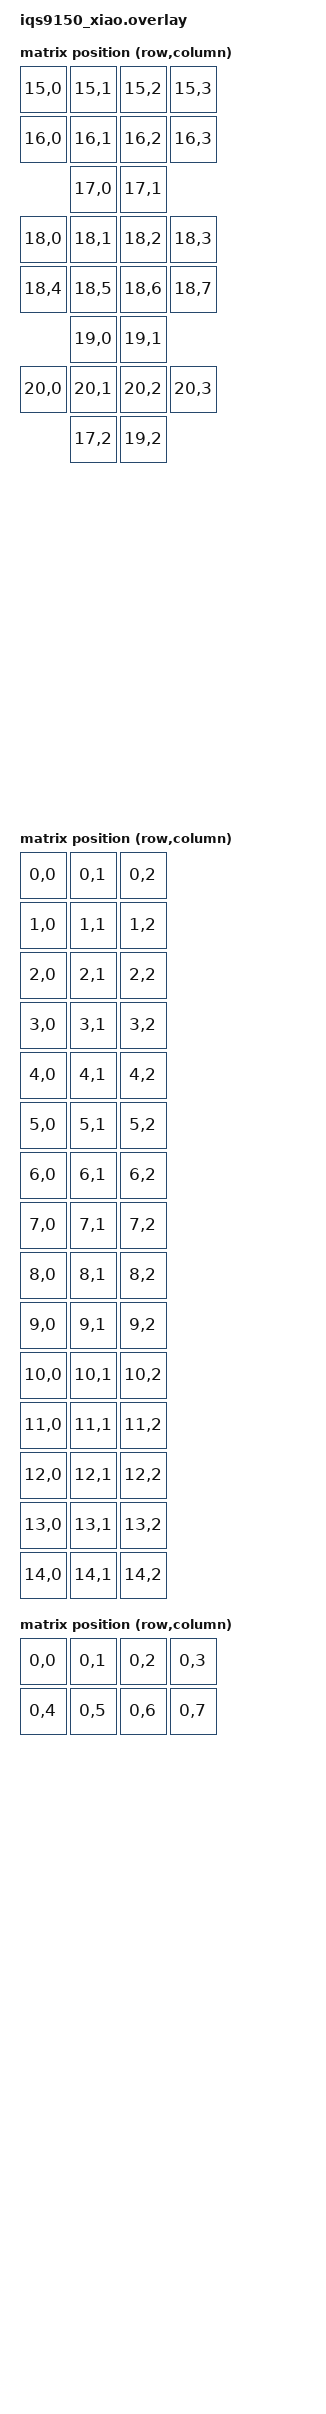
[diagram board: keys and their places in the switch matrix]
/* IQS9150EV02 / Seeed XIAO nRF52840 wiring (XIAO top view, right header):
 * GND -> EV02 GND       3V3 -> EV02 VDD
 * xiao_11 / D10 / P1.15 -> EV02 SDA
 * xiao_10 / D9  / P1.14 -> EV02 SCL
 * xiao_9  / D8  / P1.13 -> EV02 RDY
 * IQS背面パッドへSDA=P1.15、SCL=P1.14、RDY=P1.13を接続する。
 *
 * P1.12 is deliberately unused by the current firmware. Do not connect it to MCLR:
 * the firmware must not reset an EV02 whose GUI configuration is being kept.
 */

#include <zephyr/dt-bindings/pinctrl/nrf-pinctrl.h>
#include <dt-bindings/zmk/matrix_transform.h>
#include <travelers-pad/iqs9150-pointer.dtsi>
#include <zmk-input-matrix/input_matrix.dtsi>

/* Shared pinch start/exclusion threshold / ピンチ開始・scroll除外の共通閾値 */
#define TRAVELERS_PAD_PINCH_START_THRESHOLD 300000

&i2c0_default {
    group1 {
        psels = <NRF_PSEL(TWIM_SDA, 1, 15)>,
                <NRF_PSEL(TWIM_SCL, 1, 14)>;
    };
};

&i2c0_sleep {
    group1 {
        psels = <NRF_PSEL(TWIM_SDA, 1, 15)>,
                <NRF_PSEL(TWIM_SCL, 1, 14)>;
        low-power-enable;
    };
};

&i2c0 {
    status = "okay";
    clock-frequency = <I2C_BITRATE_FAST>;

    iqs9150: trackpad@56 {
        compatible = "azoteq,iqs9150";
        reg = <0x56>;
        rdy-gpios = <&gpio1 13 GPIO_ACTIVE_LOW>;
        /* Accepted interim idle-resume policy: keep LP2 and original Auto-Prox,
         * use trackpad sensing instead of ALP. Startup readback remains mandatory.
         * 放置後復帰の暫定対策：LP2・元のAuto-Proxを維持しALPを無効化。
         * 通常の接触・healthログは無効、起動時の設定検証は維持。 */
        power-mode-limit = "none";
        diagnostic-disable-alp;
    };
};

/* P1.13--P1.15 are now I2C/RDY and must not be claimed by SPI2. */
&spi2 {
    status = "disabled";
};

/ {
    management_host_gate: management_host_gate {
        compatible = "zmk,travelers-pad-management-gate";
        #input-processor-cells = <0>;
        layer = <1>;
    };
    management_grid_gate: management_grid_gate {
        compatible = "zmk,travelers-pad-management-gate";
        #input-processor-cells = <0>;
        layer = <1>;
        grid-only;
    };
    chosen {
        /* Full input integration: compose 3--5 finger gestures and edge-dial
         * events without changing the ordinary pointer/tap HID path.
         * 全入力結合試験: 通常のポインタ/タップHID経路を変えず、3〜5本指
         * ジェスチャーとエッジダイヤルのKSCANを合成する。 */
        zmk,kscan = &iqs9150_composite_kscan;
        zmk,matrix-transform = &iqs9150_composite_transform;
    };

    iqs9150_transform: keymap_transform_0 {
        compatible = "zmk,matrix-transform";
        rows = <1>;
        columns = <1>;
        map = <RC(0, 0)>;
    };

    iqs9150_kscan: kscan_iqs9150 {
        compatible = "zmk,kscan-mock";
        rows = <18>;
        columns = <4>;
        events = <0>;
    };

    /* Rows 0--14 remain unused; management uses only four-finger gestures.
     * Rows 15/16 are 3/4-finger left/right/up/down. Row 17 columns 0/1 are
     * 5F Grasp/Release, row 18 columns 0--7 are edge-dial directions, row 19
     * is Tip-Tap, and row 20 contains the four transform directions.
     * Row 17 column 2 is the optional stationary 4F hold action.
     * 行0--14は未使用。管理操作は4本指ジェスチャーだけを使用。
     * 行17の列2は任意の4本指静止ホールド。行15/16は
     * 3/4本指の左/右/上/下、行17の列0/1は5本指Grasp/Releaseである。現時点
     * 行18の列0〜7はエッジダイヤル方向、行19はTip-Tap、行20はtransformの
     * 4方向である。格子のキー割当・転送は無効。 */
    iqs9150_composite_transform: composite_transform {
        compatible = "zmk,matrix-transform";
        rows = <21>;
        columns = <8>;
        /* RC(17, 3) through RC(17, 7) deliberately have no logical position.
         * ZMK matrix transforms may omit unused physical matrix positions.
         * RC(17, 3)以降には論理位置を作らない。ZMKのmatrix transformは
         * 未使用の物理マトリクス位置をmapから省略できる。 */
        map = <RC(15, 0) RC(15, 1) RC(15, 2) RC(15, 3)
               RC(16, 0) RC(16, 1) RC(16, 2) RC(16, 3)
               RC(17, 0) RC(17, 1)
               RC(18, 0) RC(18, 1) RC(18, 2) RC(18, 3)
               RC(18, 4) RC(18, 5) RC(18, 6) RC(18, 7)
               RC(19, 0) RC(19, 1)
               RC(20, 0) RC(20, 1) RC(20, 2) RC(20, 3)
               RC(17, 2) RC(19, 2)>;
    };

    iqs9150_grid_transform: grid_transform {
        compatible = "zmk,matrix-transform";
        rows = <15>;
        columns = <3>;
        /* zmk-input-matrix emits five 3x3 row groups: tap, up, down, left,
         * right. / zmk-input-matrixはタップ、上、下、左、右の各3x3行群を出力する。 */
        map = <RC(0, 0) RC(0, 1) RC(0, 2)
               RC(1, 0) RC(1, 1) RC(1, 2)
               RC(2, 0) RC(2, 1) RC(2, 2)
               RC(3, 0) RC(3, 1) RC(3, 2)
               RC(4, 0) RC(4, 1) RC(4, 2)
               RC(5, 0) RC(5, 1) RC(5, 2)
               RC(6, 0) RC(6, 1) RC(6, 2)
               RC(7, 0) RC(7, 1) RC(7, 2)
               RC(8, 0) RC(8, 1) RC(8, 2)
               RC(9, 0) RC(9, 1) RC(9, 2)
               RC(10, 0) RC(10, 1) RC(10, 2)
               RC(11, 0) RC(11, 1) RC(11, 2)
               RC(12, 0) RC(12, 1) RC(12, 2)
               RC(13, 0) RC(13, 1) RC(13, 2)
               RC(14, 0) RC(14, 1) RC(14, 2)>;
    };

    /* Circular continuation is another trajectory for the same edge action,
     * so it reuses the same one-row KSCAN positions. Each edge has a positive
     * and negative pair. / 円形継続は同じ辺操作の別軌道なので、同じ1行KSCAN位置を
     * 再利用する。各辺には正/負方向の組がある。 */
    iqs9150_edge_dial_transform: edge_dial_transform {
        compatible = "zmk,matrix-transform";
        rows = <1>;
        columns = <8>;
        map = <RC(0, 0) RC(0, 1) RC(0, 2) RC(0, 3)
               RC(0, 4) RC(0, 5) RC(0, 6) RC(0, 7)>;
    };

    iqs9150_edge_dial: iqs9150_edge_dial {
        compatible = "zmk,travelers-pad-iqs9150-edge-dial-kscan";
        input-device = <&iqs9150_session>;
        rows = <1>;
        columns = <8>;
        surface-x = <2000>;
        surface-y = <1213>;
        /* 各辺から20カウント、80カウント移動ごとに一回発火する。
         * A 20-count edge band acquires the edge; one event is emitted per
         * 80 counts of parallel movement. */
        edge-size = <20>;
        step-move = <80>;
        /* 辺の移動方向に対応する角の局所円へ、80カウント内側で切り替える。
         * Enter the local circle at the corner selected by edge direction. */
        circle-entry-depth = <80>;
        /* 選択した角の中心と平行方向が±180カウント内だけで円へ移行する。 */
        circle-entry-span = <180>;
        circle-step-move = <80>;
        circle-corner-inset-x = <360>;
        circle-corner-inset-y = <313>;
        /* Enable all four edges for the action keymap profile.
         * 操作キーマッププロファイルでは4辺すべてを有効にする。 */
        edge-left;
        edge-right;
        edge-top;
        edge-bottom;
    };

    /* Composite is the only chosen KSCAN. Each virtual source keeps a separate
     * row range, preventing edge and gesture bindings from aliasing.
     * compositeだけをchosen KSCANにする。各仮想ソースは別々の行範囲を使うため、
     * エッジとジェスチャーのbindingが衝突しない。 */
    iqs9150_composite_kscan: iqs9150_composite_kscan {
        compatible = "zmk,kscan-composite";
        status = "okay";
        rows = <21>;
        columns = <8>;

        multifinger_gesture {
            kscan = <&iqs9150_gesture_kscan>;
            row-offset = <15>;
        };

        edge_dial {
            kscan = <&iqs9150_edge_dial>;
            row-offset = <18>;
        };

        tip_tap {
            kscan = <&iqs9150_tip_tap>;
            row-offset = <19>;
        };

        transform_gesture {
            kscan = <&iqs9150_transform_gesture>;
            row-offset = <20>;
        };
    };

    iqs9150_gesture_kscan: iqs9150_gesture_kscan {
        compatible = "zmk,travelers-pad-iqs9150-multifinger-gesture-kscan";
        status = "okay";
        input-device = <&iqs9150_session>;
        swipe-min-move = <180>;
        swipe-max-ms = <700>;
        five-finger-radial-move = <80>;
        five-finger-stable-frames = <3>;
        four-finger-hold-ms = <1000>;
        four-finger-hold-immediate;
        four-finger-hold-slop = <60>;
    };

    iqs9150_tip_tap: iqs9150_tip_tap {
        compatible = "zmk,travelers-pad-iqs9150-tip-tap-kscan";
        input-device = <&iqs9150_session>;
        /* Distinguish an established anchor from staggered two-finger taps.
         * 先に250ms静止したanchorのみTip-Tap候補にする。 */
        anchor-min-hold-ms = <250>;
        // anchor-hold;
        second-contact-timeout-ms = <250>;
        contact-slop = <75>;
        minimum-horizontal-separation = <160>;
        status = "okay";
    };

    /* Pinch/rotation has a dedicated primary owner. It deliberately receives
     * normalized session frames directly, so a transform can suppress both
     * pointer routing and a terminal two-finger tap. */
    /* Full-pad profile enables pinch; rotation stays disabled.
     * 完全pad profileではピンチを有効、回転を無効にする。 */
    /* Keep the router exclusion and transform recognition threshold identical.
     * ルーターのスクロール除外とピンチ認識に同じ閾値を使う。 */
    iqs9150_router {
        geometry-distance-threshold = <TRAVELERS_PAD_PINCH_START_THRESHOLD>;
    };

    iqs9150_transform_gesture {
        status = "okay";
        /* Conservative pinch thresholds: squared-distance changes, not time.
         * ピンチ誤発火・連打を抑える二乗距離差の閾値。時間間隔ではない。 */
        distance-threshold = <TRAVELERS_PAD_PINCH_START_THRESHOLD>;
        pinch-step-threshold = <600000>;
    };

    /* Function module: normalized session frames are classified before pointer
     * handling. / 正規化session frameをポインタ処理前にジェスチャー種別へ
     * 振り分ける。 */




    /* No HID listener or processors on this private observation source.
     * 専用観測sourceにはHID listener・processorを接続しない。 */


    /* Scroll inertia observes canonical, axis-locked pointer wheel events and
     * sends its decay back through the same pointer listener chain.
     * スクロール慣性は標準ポインタの軸ロック済みホイール値を観測し、減衰値を同じ
     * ポインタlistener chainへ戻す。 */


    /* Contact arbiter: the session manager is the sole raw subscriber and
     * republishes normalized frames. All primary ownership is resolved here;
     * observer continuations are explicitly delegated by the live token.
     * contact arbiter: session managerだけが生入力を購読して正規化frameを再配信
     * する。全primaryの所有権はここで解決し、observerの継続出力はlive tokenから
     * 明示的に委譲する。 */


    /* Function module: one/two/three-finger tap maps to left/right/middle.
     * A nearby second tap with the same number of fingers starts a drag when
     * held. It receives session-republished frames so the contact arbiter
     * controls exclusive ownership while tap history remains available.
     * 1/2/3本指タップを左/右/中クリックへ変換する。近い位置で同本数の二回目を
     * ホールドするとドラッグを開始する。session再配信frameを受けるため、タップ履歴を
     * 維持しつつ排他所有権はcontact arbiterが制御する。 */


    /* Edge continuation: a confirmed drag emits timer-driven pointer motion,
     * and an axis-locked 2F scroll emits wheel motion, only while the relevant
     * arbiter token remains live.
     * エッジ継続: 確定ドラッグはタイマー駆動ポインタ移動を、軸ロック済み2本指
     * スクロールはホイール移動を出力する。いずれもarbiter tokenがliveな間だけ
     * 継続する。 */
    iqs9150_edge_hold_continue: iqs9150_edge_hold_continue {
        compatible = "zmk,travelers-pad-iqs9150-edge-hold-continue";
        drag-input-device = <&iqs9150_session>;
        scroll-input-device = <&iqs9150_router>;
        scroll-motion-input-device = <&iqs9150_pointer>;
        scroll-output-device = <&iqs9150_pointer>;
        surface-x = <2000>;
        surface-y = <1213>;
        edge-size = <80>;
        drag-start-delay-ms = <120>;
        drag-repeat-ms = <24>;
        drag-repeat-delta = <8>;
        scroll-start-delay-ms = <120>;
        scroll-repeat-ms = <24>;
        scroll-repeat-delta = <4>;
        status = "okay";
    };

    /* Optional function module: short one-finger taps become virtual KSCAN
     * cells. It is disabled by default so ordinary one-finger tap remains a
     * mouse click. Enable it together with a matching chosen zmk,kscan and
     * matrix transform/keymap when gesture-layer input is wanted.
     *
     * 任意の機能モジュール: 短い1本指タップを仮想KSCANセルへ変換する。通常の
     * 1本指タップを左クリックとして維持するため、初期状態では無効にする。 */
    iqs9150_grid: iqs9150_grid {
        compatible = "zmk,travelers-pad-iqs9150-grid-kscan";
        status = "disabled";
        input-device = <&iqs9150_session>;
        rows = <3>;
        columns = <3>;
        surface-x = <2000>;
        surface-y = <1213>;
        edge-size = <100>;
        /* left, right, top, bottom: each item is <row column>. */
        edge-keys = <2 0>, <2 1>, <2 2>, <1 1>;
        tap-max-ms = <350>;
        tap-max-move = <75>;
    };

    /* Forward function-module output to ZMK's mouse HID endpoint.
     * 機能モジュールの出力をZMKのマウスHIDエンドポイントへ転送する。 */




    iqs9150_edge_hold_continue_listener: iqs9150_edge_hold_continue_listener {
        compatible = "zmk,input-listener";
        device = <&iqs9150_edge_hold_continue>;
        /* Drag REL_X/Y is forwarded directly here. Edge-held wheel output is
         * deliberately sent to &iqs9150_pointer, so it reuses exactly the
         * normal 2F listener processor chain.
         * ドラッグREL_X/Yはここから直接転送する。エッジ保持中のホイール出力は
         * &iqs9150_pointerへ送るため、通常の2本指と完全に同じlistener processor
         * chainを再利用する。 */
        status = "okay";
    };

    /* zmk-input-matrix is an optional grid source; it has no mapped key
     * positions in this step. The listener nevertheless validates the whole
     * input-processor -> KSCAN proxy -> composite path at build/run time.
     * zmk-input-matrixは任意の格子ソースであり、この段階では論理キーを割り当てない。
     * ただしlistenerによってinput processor→KSCAN proxy→compositeの経路を
     * ビルド時・起動時に検証する。 */
    iqs9150_matrix_listener: iqs9150_matrix_listener {
        compatible = "zmk,input-listener";
        /* Receive the private active-touch stream, not raw IQS9150 reports.
         * 生IQS9150レポートではなく、専用の接触中ストリームを受け取る。 */
        device = <&iqs9150_matrix_input>;
        input-processors = <&management_grid_gate>;
        management {
            layers = <1>;
            input-processors = <&zip_matrix>;
        };
        /* The grid has no logical mapping in the base firmware. Keep this
         * verification-only listener off until a grid/edge module includes
         * its transform and bindings.
         * 基本ファームには格子の論理割当がない。格子/辺モジュールがtransformと
         * bindingsをincludeするまで、この検証専用listenerは無効にする。 */
        status = "disabled";
    };

    iqs9150_matrix_input: iqs9150_matrix_input {
        compatible = "zmk,travelers-pad-iqs9150-matrix-input";
        input-device = <&iqs9150_session>;
        /* A deliberate grid tap needs to survive contact-coordinate settling.
         * The matrix starts only after this interval; short intentional flicks
         * remain possible after the contact has settled.
         * 意図的な格子タップを接触座標の収束から保護する。matrixはこの時間後に
         * 開始するため、接触が安定した後でも短い意図的フリックは可能である。 */
        one-finger-settle-ms = <80>;
        status = "disabled";
    };
};

&iqs9150_tap_drag_listener {
    input-processors = <&management_host_gate>;
};
&iqs9150_tap_drag {
    disabled-layer = <1>;
};
&iqs9150_edge_hold_continue_listener {
    input-processors = <&management_host_gate>;
};
&iqs9150_pointer_listener {
    management {
        layers = <1>;
        input-processors = <&management_host_gate>;
    };
};

/* Management 2x3 grid input processor. It observes the private matrix stream:
 * Zephyr fans a mutable input event out to every listener, so it must not
 * suppress session frames consumed by pointer, tap-drag, or multi-finger
 * modules. / 格子用input processorは専用matrixストリームを監視する。Zephyrは
 * 可変input eventを全listenerへ配信するため、ポインタ、タップドラッグ、多指moduleが
 * 消費するsession frameを抑止してはならない。 */
&kscan_gesture {
    rows = <10>;
    columns = <3>;
};

&zip_matrix {
    rows = <2>;
    columns = <3>;
    x = <2000>;
    y = <1213>;
    /* 100 is only 5% of the 2000-count X range and may be crossed by
     * pressure settling. 200 is still below the documented deliberate
     * quarter-pad flick.
     * 100はX軸2000カウントの5%で、接触圧による座標収束でも超え得る。200なら
     * 文書化した意図的な1/4パッドフリックより十分小さい。 */
    flick-threshold = <200>;
    long-press-ms = <0>;
    /* This listener receives only its private input stream. It can therefore
     * suppress its events without changing session frames seen by other modules.
     * listenerは専用ストリームだけを受けるため、抑止しても他moduleが見るsession
     * frameを変更しない。 */
    suppress-abs;
    suppress-btn-touch;
};
